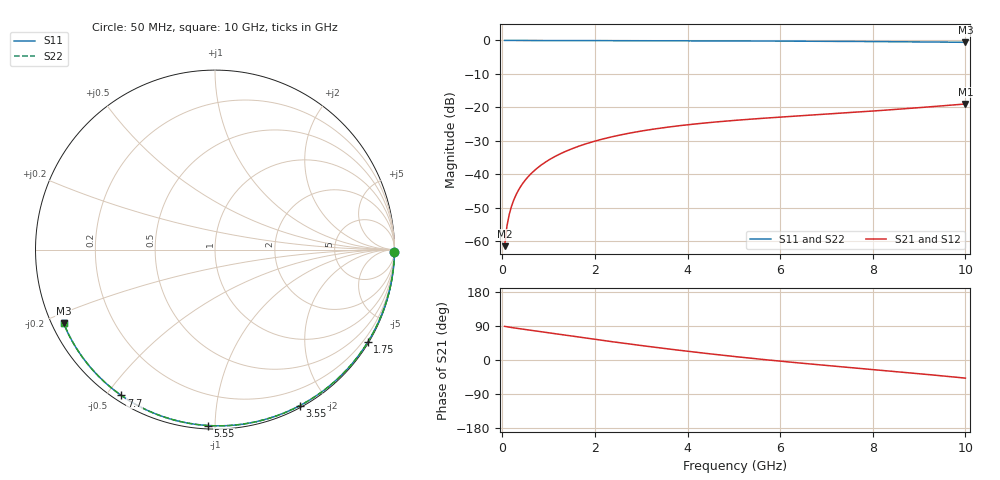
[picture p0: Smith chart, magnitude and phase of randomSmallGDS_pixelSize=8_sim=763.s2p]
! freq	dB(S11)	phase(S11)	dB(S12)	phase(S12)
!  dB(S21)	phase(S21)	dB(S22)	phase(S22)
!S-par simulation data
#  GHz  S  DB  R 50
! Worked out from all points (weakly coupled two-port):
!   200 points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, 50 MHz to 10 GHz, reference 50 ohm
!   highest |S21| = -18.97 dB at 10 GHz (marker M1); lowest = -61.4 dB at 50 MHz (marker M2)
!   lowest |S11| = -0.6 dB at 10 GHz (marker M3), VSWR 31.29, Z = 1.68 - j11.5 ohm
!   |S11| at or under -10 dB: nowhere
!   |S22| runs from -0.6 to 0.0 dB; largest |S21 - S12| = 0
!   S11 on the Smith chart (normalised r, x): 50 MHz: open; 1.75 GHz: 0.03, -3.58; 3.55 GHz: 0.02, -1.68; 5.55 GHz: 0.02, -0.96; 7.7 GHz: 0.02, -0.55; 10 GHz: 0.03, -0.23
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0.05  -0.00 -0.9  -61.42 88.8  -61.42 88.8  -0.00 -0.9
0.1  -0.00 -1.8  -55.42 87.7  -55.42 87.7  -0.00 -1.8
0.15  -0.00 -2.7  -51.93 86.6  -51.93 86.6  -0.00 -2.7
0.2  -0.00 -3.6  -49.47 85.7  -49.47 85.7  -0.00 -3.6
0.25  -0.00 -4.5  -47.56 84.8  -47.56 84.8  -0.00 -4.5
0.35  -0.00 -6.4  -44.68 83.0  -44.68 83.0  -0.00 -6.4
0.5  -0.01 -9.1  -41.62 80.4  -41.62 80.4  -0.01 -9.1
0.7  -0.01 -12.7  -38.75 77.0  -38.75 77.0  -0.01 -12.6
1  -0.02 -18.0  -35.72 71.7  -35.72 71.7  -0.02 -18.0
1.35  -0.03 -24.2  -33.22 65.6  -33.22 65.6  -0.03 -24.2
1.75  -0.04 -31.2  -31.11 58.8  -31.11 58.8  -0.04 -31.2
2.5  -0.06 -44.1  -28.36 46.2  -28.36 46.2  -0.06 -44.1
3.4  -0.09 -59.1  -26.20 32.0  -26.20 32.0  -0.09 -59.1
3.55  -0.09 -61.5  -25.92 29.7  -25.92 29.7  -0.09 -61.5
4.3  -0.12 -73.4  -24.74 18.8  -24.74 18.8  -0.12 -73.4
5.05  -0.14 -84.9  -23.83 8.7  -23.83 8.7  -0.14 -84.9
5.55  -0.17 -92.3  -23.31 2.4  -23.31 2.4  -0.17 -92.3
6.7  -0.23 -108.8  -22.26 -11.1  -22.26 -11.1  -0.23 -108.8
7.7  -0.30 -122.7  -21.36 -22.0  -21.36 -22.0  -0.30 -122.7
8.35  -0.36 -131.5  -20.73 -29.0  -20.73 -29.0  -0.36 -131.5
9.2  -0.45 -143.1  -19.85 -38.5  -19.85 -38.5  -0.45 -143.0
10  -0.56 -154.0  -18.97 -47.8  -18.97 -47.8  -0.56 -154.0
